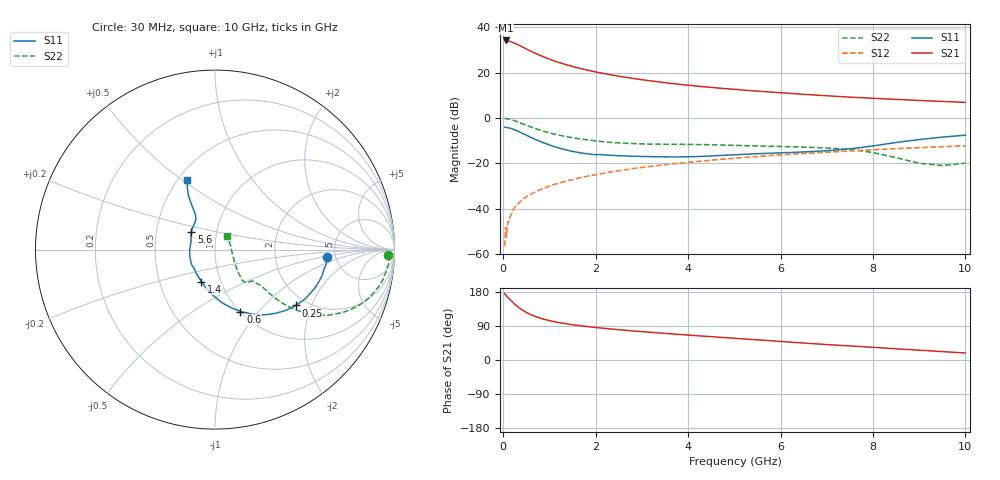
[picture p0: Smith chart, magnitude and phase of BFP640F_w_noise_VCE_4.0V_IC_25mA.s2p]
! Infineon Technologies  Discrete & RF Semiconductors
! BFP640F
! VCE =  4.0 V,  IC =  25 mA
! Common Emitter S-Parameters:  Apr 2013
# GHz  S  MA  R  50
!  f  S11  S21  S12  S22
! GHz  MAG  ANG  MAG  ANG  MAG  ANG  MAG  ANG
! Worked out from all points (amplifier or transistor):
!   99 points, 30 MHz to 10 GHz, reference 50 ohm
!   highest |S21| = 34.2 dB at 50 MHz (marker M1)
!   |S21| within 3 dB of that: start of sweep to 429.4 MHz
!   unconditionally stable (mu >= 1): 1.981 GHz to end of sweep
!   at 350 MHz: K = 0.45, MSG = 34.6 dB, |S12| = -37.2 dB
!   at 3.5 GHz: K = 1.06, MAG = 16.6 dB, |S12| = -20.6 dB
!   at 10 GHz: K = 1.05, MAG = 8.3 dB, |S12| = -12.3 dB
!   lowest NFmin = 0.90 dB at 450 MHz
!   S11 on the Smith chart (normalised r, x): 30 MHz: 4.22, -0.60; 250 MHz: 1.75, -1.56; 600 MHz: 1.01, -0.81; 1.4 GHz: 0.81, -0.30; 5.6 GHz: 0.75, +0.15; 10 GHz: 0.56, +0.52
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0.03  0.6237 -4.0  50.89 175.2  0.0015 74.0  0.9655 -1.8
0.05  0.6252 -7.1  51.02 172.7  0.0039 76.7  0.9716 -3.9
0.09  0.615 -13.0  50.05 167.0  0.0038 72.7  0.9595 -7.8
0.15  0.5938 -21.7  48.3 159.1  0.0066 75.4  0.9315 -13.2
0.2  0.5737 -28.4  46.3 153.0  0.0085 76.2  0.9016 -17.2
0.25  0.5469 -34.7  44.2 147.2  0.0109 72.1  0.8659 -20.6
0.35  0.4927 -45.9  39.64 137.2  0.0138 72.9  0.7935 -26.2
0.4  0.4658 -50.9  37.41 132.9  0.0154 72.4  0.7556 -28.4
0.5  0.4166 -59.7  33.21 125.6  0.0184 70.9  0.6899 -32.0
0.6  0.373 -67.7  29.59 119.6  0.0211 70.6  0.6317 -34.4
0.7  0.3348 -74.7  26.51 114.6  0.0237 70.5  0.5821 -36.1
0.9  0.277 -87.0  21.67 106.9  0.029 70.0  0.502 -38.1
1.1  0.2349 -98.0  18.18 101.2  0.0342 69.7  0.4433 -38.8
1.4  0.1939 -113.0  14.55 94.9  0.0417 69.0  0.3828 -38.8
1.7  0.169 -127.2  12.11 90.0  0.0492 68.6  0.3417 -38.2
2.4  0.1496 -155.2  8.675 81.1  0.0665 66.2  0.287 -39.3
3.4  0.1399 176.9  6.175 71.1  0.091 61.9  0.2645 -42.2
5.1  0.1562 148.9  4.192 56.5  0.1323 53.7  0.2481 -46.9
5.6  0.1649 143.2  3.839 52.4  0.1443 51.0  0.2409 -47.7
6.7  0.1829 129.4  3.227 43.1  0.1695 44.9  0.224 -48.4
8.5  0.2881 117.4  2.569 29.6  0.2111 35.0  0.1336 -34.4
10  0.4183 111.7  2.208 18.5  0.2435 26.3  0.1011 47.6
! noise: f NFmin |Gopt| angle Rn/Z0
0.45  0.9  0.15  -174  0.06
0.9  0.92  0.16  -169  0.06
1.5  0.95  0.16  -163  0.07
1.9  0.98  0.17  -157  0.08
2.4  1.01  0.18  -149  0.08
3.5  1.09  0.19  -139  0.1
5.5  1.27  0.22  -122  0.13
10  1.73  0.43  -86  0.42
